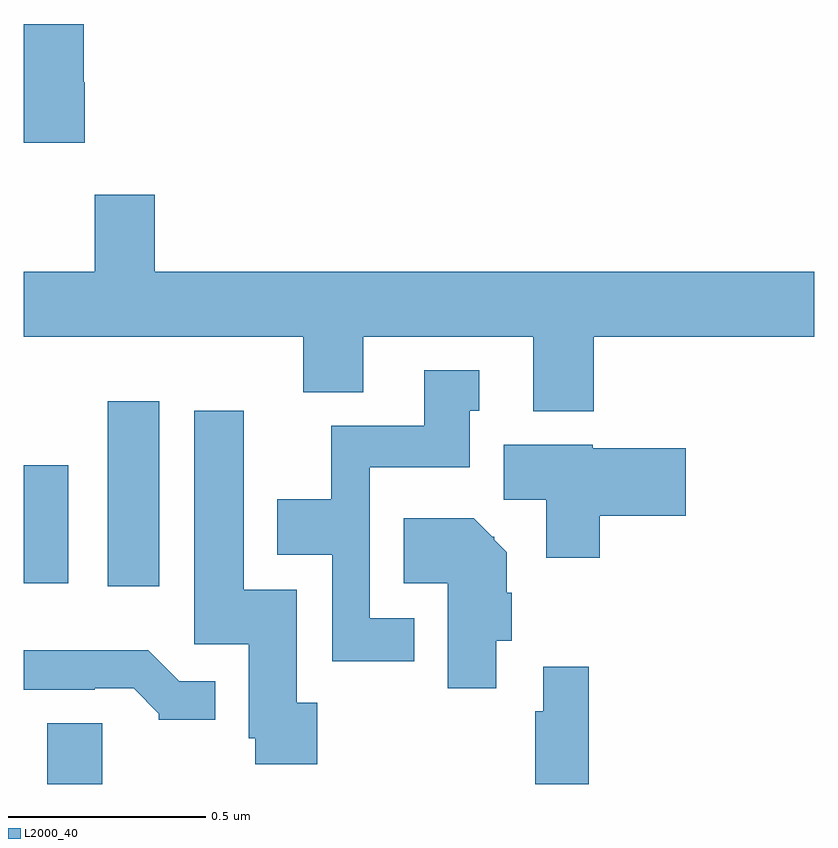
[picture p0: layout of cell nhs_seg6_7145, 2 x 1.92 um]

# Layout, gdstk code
import gdstk
lib = gdstk.Library(unit=1e-6, precision=1e-09)
def R(c, l, rs):  # rectangles x0, y0, x1, y1
    for r in rs: c.add(gdstk.rectangle(r[:2], r[2:], *l))
def P(c, l, *ps):  # polygons
    for p in ps: c.add(gdstk.Polygon(p, *l))
L2000_40 = (2000, 40)

nhs_seg6_7145 = lib.new_cell('nhs_seg6_7145')
R(nhs_seg6_7145, L2000_40, [(204.059,983.5,204.199,983.654), (204.212,984,204.343,984.469), (204,984.008,204.112,984.307)])
P(nhs_seg6_7145, L2000_40, [(204.154,985.275),(204.152,985.275),(204.152,985.423),(204,985.423),(204,985.122),(204.154,985.122)],
  [(205.442,984.632),(206,984.632),(206,984.796),(204.332,984.796),(204.332,984.991),(204.179,984.991),(204.179,984.796),(204,984.796),(204,984.632),(204.707,984.632),(204.707,984.491),(204.859,984.491),(204.859,984.632),(205.289,984.632),(205.289,984.443),(205.442,984.443)],
  [(204.988,983.919),(204.876,983.919),(204.876,984.302),(205.129,984.302),(205.129,984.444),(205.153,984.444),(205.153,984.547),(205.013,984.547),(205.013,984.406),(204.778,984.406),(204.778,984.22),(204.641,984.22),(204.641,984.08),(204.78,984.08),(204.78,983.811),(204.988,983.811)],
  [(204.743,983.706),(204.691,983.706),(204.691,983.992),(204.556,983.992),(204.556,984.445),(204.431,984.445),(204.431,983.853),(204.569,983.853),(204.569,983.616),(204.586,983.616),(204.586,983.55),(204.743,983.55)],
  [(205.457,984.179),(205.675,984.179),(205.675,984.349),(205.44,984.349),(205.44,984.358),(205.214,984.358),(205.214,984.219),(205.322,984.219),(205.322,984.072),(205.457,984.072)],
  [(205.195,983.862),(205.235,983.862),(205.235,983.984),(205.222,983.984),(205.222,984.087),(205.191,984.118),(205.191,984.126),(205.185,984.126),(205.139,984.172),(204.961,984.172),(204.961,984.008),(205.073,984.008),(205.073,983.742),(205.195,983.742)],
  [(204.484,983.76),(204.393,983.76),(204.315,983.839),(204,983.839),(204,983.739),(204.179,983.739),(204.179,983.742),(204.278,983.742),(204.342,983.678),(204.342,983.663),(204.484,983.663)],
  [(205.43,983.797),(205.314,983.797),(205.314,983.684),(205.294,983.684),(205.294,983.5),(205.43,983.5)])

lib.write_gds('nhs_seg6_7145.gds')
